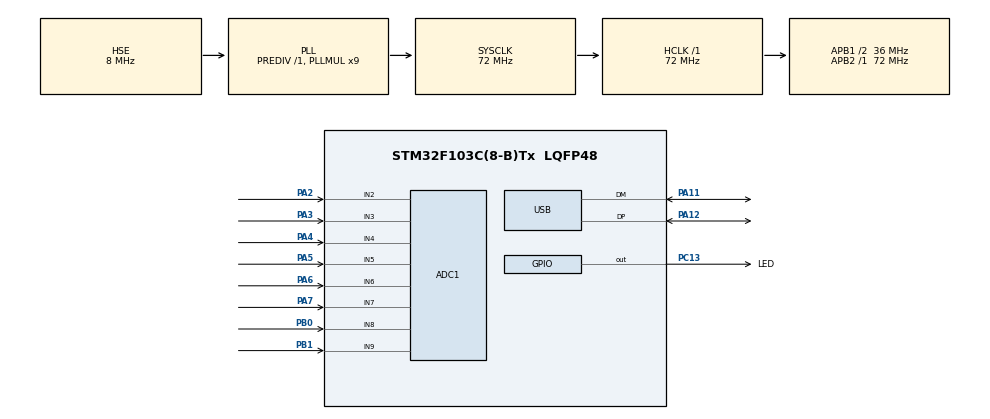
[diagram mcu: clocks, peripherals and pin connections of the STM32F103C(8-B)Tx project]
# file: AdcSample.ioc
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ADC1.Channel-10\#ChannelRegularConversion=ADC_CHANNEL_4
ADC1.Channel-11\#ChannelRegularConversion=ADC_CHANNEL_5
ADC1.Channel-12\#ChannelRegularConversion=ADC_CHANNEL_6
ADC1.Channel-13\#ChannelRegularConversion=ADC_CHANNEL_7
ADC1.Channel-14\#ChannelRegularConversion=ADC_CHANNEL_8
ADC1.Channel-15\#ChannelRegularConversion=ADC_CHANNEL_9
ADC1.Channel-8\#ChannelRegularConversion=ADC_CHANNEL_2
ADC1.Channel-9\#ChannelRegularConversion=ADC_CHANNEL_3
ADC1.ContinuousConvMode=DISABLE
ADC1.EnableInjectedConversion=DISABLE
ADC1.EnableRegularConversion=ENABLE
ADC1.ExternalTrigConv=ADC_EXTERNALTRIGCONV_T3_TRGO
ADC1.NbrOfConversion=8
ADC1.NbrOfConversionFlag=1
ADC1.Rank-10\#ChannelRegularConversion=3
ADC1.Rank-11\#ChannelRegularConversion=4
ADC1.Rank-12\#ChannelRegularConversion=5
ADC1.Rank-13\#ChannelRegularConversion=6
ADC1.Rank-14\#ChannelRegularConversion=7
ADC1.Rank-15\#ChannelRegularConversion=8
ADC1.Rank-8\#ChannelRegularConversion=1
ADC1.Rank-9\#ChannelRegularConversion=2
ADC1.SamplingTime-10\#ChannelRegularConversion=ADC_SAMPLETIME_239CYCLES_5
ADC1.SamplingTime-11\#ChannelRegularConversion=ADC_SAMPLETIME_239CYCLES_5
ADC1.SamplingTime-12\#ChannelRegularConversion=ADC_SAMPLETIME_239CYCLES_5
ADC1.SamplingTime-13\#ChannelRegularConversion=ADC_SAMPLETIME_239CYCLES_5
ADC1.SamplingTime-14\#ChannelRegularConversion=ADC_SAMPLETIME_239CYCLES_5
ADC1.SamplingTime-15\#ChannelRegularConversion=ADC_SAMPLETIME_239CYCLES_5
ADC1.SamplingTime-8\#ChannelRegularConversion=ADC_SAMPLETIME_239CYCLES_5
ADC1.SamplingTime-9\#ChannelRegularConversion=ADC_SAMPLETIME_239CYCLES_5
ADC1.master=1
Dma.ADC1.0.Direction=DMA_PERIPH_TO_MEMORY
Dma.ADC1.0.Instance=DMA1_Channel1
Dma.ADC1.0.MemDataAlignment=DMA_MDATAALIGN_WORD
Dma.ADC1.0.MemInc=DMA_MINC_ENABLE
Dma.ADC1.0.Mode=DMA_CIRCULAR
Dma.ADC1.0.PeriphDataAlignment=DMA_PDATAALIGN_WORD
Dma.ADC1.0.PeriphInc=DMA_PINC_DISABLE
Dma.ADC1.0.Priority=DMA_PRIORITY_LOW
Dma.Request0=ADC1
Mcu.Family=STM32F1
Mcu.Name=STM32F103C(8-B)Tx
Mcu.Package=LQFP48
NVIC.ADC1_2_IRQn=true\:0\:0\:false\:false\:true\:true\:true
NVIC.DMA1_Channel1_IRQn=true\:0\:0\:false\:false\:true\:false\:true
NVIC.PriorityGroup=NVIC_PRIORITYGROUP_2
NVIC.TIM2_IRQn=true\:0\:0\:false\:false\:true\:true\:true
NVIC.USB_LP_CAN1_RX0_IRQn=true\:0\:0\:false\:false\:true\:false\:true
PA11.Mode=Device
PA11.Signal=USB_DM
PA12.Mode=Device
PA12.Signal=USB_DP
PA13.Mode=Serial_Wire
PA13.Signal=SYS_JTMS-SWDIO
PA14.Mode=Serial_Wire
PA14.Signal=SYS_JTCK-SWCLK
PA2.Signal=ADCx_IN2
PA3.Signal=ADCx_IN3
PA4.Signal=ADCx_IN4
PA5.Signal=ADCx_IN5
PA6.Signal=ADCx_IN6
PA7.Signal=ADCx_IN7
PB0.Signal=ADCx_IN8
PB1.Signal=ADCx_IN9
PC13-TAMPER-RTC.GPIO_Label=LED
PC13-TAMPER-RTC.PinState=GPIO_PIN_SET
PC13-TAMPER-RTC.Signal=GPIO_Output
PC14-OSC32_IN.Mode=LSE-External-Oscillator
PC14-OSC32_IN.Signal=RCC_OSC32_IN
PC15-OSC32_OUT.Mode=LSE-External-Oscillator
PC15-OSC32_OUT.Signal=RCC_OSC32_OUT
PD0-OSC_IN.Mode=HSE-External-Oscillator
PD0-OSC_IN.Signal=RCC_OSC_IN
PD1-OSC_OUT.Mode=HSE-External-Oscillator
PD1-OSC_OUT.Signal=RCC_OSC_OUT
ProjectManager.HeapSize=0x800
ProjectManager.StackSize=0x1000
ProjectManager.TargetToolchain=MDK-ARM V5.27
RCC.ADCPresc=RCC_ADCPCLK2_DIV6
RCC.AHBFreq_Value=72000000
RCC.APB1CLKDivider=RCC_HCLK_DIV2
RCC.APB1Freq_Value=36000000
RCC.APB1TimFreq_Value=72000000
RCC.APB2Freq_Value=72000000
RCC.APB2TimFreq_Value=72000000
RCC.HCLKFreq_Value=72000000
RCC.PLLMUL=RCC_PLL_MUL9
RCC.PLLSourceVirtual=RCC_PLLSOURCE_HSE
RCC.SYSCLKFreq_VALUE=72000000
RCC.SYSCLKSource=RCC_SYSCLKSOURCE_PLLCLK
RCC.USBFreq_Value=48000000
RCC.USBPrescaler=RCC_USBCLKSOURCE_PLL_DIV1_5
SH.ADCx_IN2.0=ADC1_IN2,IN2
SH.ADCx_IN3.0=ADC1_IN3,IN3
SH.ADCx_IN4.0=ADC1_IN4,IN4
SH.ADCx_IN5.0=ADC1_IN5,IN5
SH.ADCx_IN6.0=ADC1_IN6,IN6
SH.ADCx_IN7.0=ADC1_IN7,IN7
SH.ADCx_IN8.0=ADC1_IN8,IN8
SH.ADCx_IN9.0=ADC1_IN9,IN9
TIM2.AutoReloadPreload=TIM_AUTORELOAD_PRELOAD_ENABLE
TIM2.Period=5000-1
TIM2.Prescaler=7200-1
TIM2.TIM_MasterOutputTrigger=TIM_TRGO_OC1
TIM3.AutoReloadPreload=TIM_AUTORELOAD_PRELOAD_ENABLE
TIM3.Period=2000-1
TIM3.Prescaler=72-1
TIM3.TIM_MasterOutputTrigger=TIM_TRGO_UPDATE
USB_DEVICE.CLASS_NAME_FS=CDC
USB_DEVICE.VirtualMode=Cdc
USB_DEVICE.VirtualModeFS=Cdc_FS
VP_TIM2_VS_ClockSourceINT.Mode=Internal
VP_TIM3_VS_ClockSourceINT.Mode=Internal
VP_USB_DEVICE_VS_USB_DEVICE_CDC_FS.Mode=CDC_FS
board=custom

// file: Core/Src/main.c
/* USER CODE BEGIN Header */
/**
  ******************************************************************************
  * @file           : main.c
  * @brief          : Main program body
  ******************************************************************************
  * @attention
  *
  * <h2><center>&copy; Copyright (c) 2021 STMicroelectronics.
  * All rights reserved.</center></h2>
  *
  * This software component is licensed by ST under Ultimate Liberty license
  * SLA0044, the "License"; You may not use this file except in compliance with
  * the License. You may obtain a copy of the License at:
  *                             www.st.com/SLA0044
  *
  ******************************************************************************
  */
/* USER CODE END Header */
#include "main.h"
#include "usb_device.h"

/* USER CODE BEGIN Includes */
#include "usbd_cdc_if.h"
/* USER CODE END Includes */

ADC_HandleTypeDef hadc1;
DMA_HandleTypeDef hdma_adc1;

TIM_HandleTypeDef htim2;
TIM_HandleTypeDef htim3;

void SystemClock_Config(void);
static void MX_GPIO_Init(void);
static void MX_DMA_Init(void);
static void MX_ADC1_Init(void);
static void MX_TIM2_Init(void);
static void MX_TIM3_Init(void);

/* USER CODE BEGIN 0 */
uint8_t UserTxBuffer[] = "STM32 Virtual COM Port Driver \r\n大家好，我是单片机爱好者MCU起航\r\n";
uint32_t ADC_DMABuff[8];
uint32_t ADC_UARTBuff[6];

uint8_t flag;
/* USER CODE END 0 */

int main(void)
{
  /* USER CODE BEGIN 1 */
	int i;
	uint16_t Sine12bit[32] = {2048, 2460, 2856, 3218, 3532, 3786, 3969, 4072, 4093, 4031, 3887, 3668, 3382, 3042, 2661, 2255, 1841, 1435, 1054, 714, 428, 209, 65, 3, 24, 127, 310, 564, 878, 1240, 1636, 2048};

  /* USER CODE END 1 */

  /* MCU Configuration--------------------------------------------------------*/

  /* Reset of all peripherals, Initializes the Flash interface and the Systick. */
  HAL_Init();

  /* Configure the system clock */
  SystemClock_Config();

  /* Initialize all configured peripherals */
  MX_GPIO_Init();
  MX_DMA_Init();
  MX_USB_DEVICE_Init();
  MX_ADC1_Init();
  MX_TIM2_Init();
  MX_TIM3_Init();
  /* USER CODE BEGIN 2 */
	HAL_ADC_Start_DMA(&hadc1,(uint32_t*)ADC_DMABuff,8);
	HAL_TIM_Base_Start_IT(&htim2);
	HAL_TIM_Base_Start_IT(&htim3);

  /* USER CODE END 2 */

  /* Infinite loop */
  /* USER CODE BEGIN WHILE */
  while (1)
  {
		/**ADC时钟:12MHz
		Tconv =  239.5+ 12.5 = 252 =21us  < 4kHz 所以最大采样率不大于4KHz
		ch0:V2N
		ch1:V2P
		ch2:V1N
		ch3:V1P
		ch4:I4
		ch5:I3
		ch6:I2
		ch7:I1
		**/

		if(flag){
			flag = 0;

			ADC_UARTBuff[0] = ADC_DMABuff[1] - ADC_DMABuff[0];
			ADC_UARTBuff[1] = ADC_DMABuff[3] - ADC_DMABuff[2];
			ADC_UARTBuff[2] = ADC_DMABuff[4];
			ADC_UARTBuff[3] = ADC_DMABuff[5];
			ADC_UARTBuff[4] = ADC_DMABuff[6];
			ADC_UARTBuff[5] = ADC_DMABuff[7];
#if 0
			for(i = 0;i < 6;i++){
				usb_printf("ch%d-%d\r\n",i,ADC_UARTBuff[i]);
				usb_printf("ch%d-%d\r\n",i,Sine12bit[i]);

			}

#endif
#if 1
		for(i = 0;i < 32;i++){
			usb_printf("%d\r\n",Sine12bit[i]);
			if(i == 31 )i = 0;

		}
#endif

		}

    /* USER CODE END WHILE */

  }
}

void SystemClock_Config(void)
{
  RCC_OscInitTypeDef RCC_OscInitStruct = {0};
  RCC_ClkInitTypeDef RCC_ClkInitStruct = {0};
  RCC_PeriphCLKInitTypeDef PeriphClkInit = {0};

  /** Initializes the RCC Oscillators according to the specified parameters
  * in the RCC_OscInitTypeDef structure.
  */
  RCC_OscInitStruct.OscillatorType = RCC_OSCILLATORTYPE_HSE;
  RCC_OscInitStruct.HSEState = RCC_HSE_ON;
  RCC_OscInitStruct.HSEPredivValue = RCC_HSE_PREDIV_DIV1;
  RCC_OscInitStruct.HSIState = RCC_HSI_ON;
  RCC_OscInitStruct.PLL.PLLState = RCC_PLL_ON;
  RCC_OscInitStruct.PLL.PLLSource = RCC_PLLSOURCE_HSE;
  RCC_OscInitStruct.PLL.PLLMUL = RCC_PLL_MUL9;
  if (HAL_RCC_OscConfig(&RCC_OscInitStruct) != HAL_OK)
  {
    Error_Handler();
  }
  /** Initializes the CPU, AHB and APB buses clocks
  */
  RCC_ClkInitStruct.ClockType = RCC_CLOCKTYPE_HCLK|RCC_CLOCKTYPE_SYSCLK
                              |RCC_CLOCKTYPE_PCLK1|RCC_CLOCKTYPE_PCLK2;
  RCC_ClkInitStruct.SYSCLKSource = RCC_SYSCLKSOURCE_PLLCLK;
  RCC_ClkInitStruct.AHBCLKDivider = RCC_SYSCLK_DIV1;
  RCC_ClkInitStruct.APB1CLKDivider = RCC_HCLK_DIV2;
  RCC_ClkInitStruct.APB2CLKDivider = RCC_HCLK_DIV1;

  if (HAL_RCC_ClockConfig(&RCC_ClkInitStruct, FLASH_LATENCY_2) != HAL_OK)
  {
    Error_Handler();
  }
  PeriphClkInit.PeriphClockSelection = RCC_PERIPHCLK_ADC|RCC_PERIPHCLK_USB;
  PeriphClkInit.AdcClockSelection = RCC_ADCPCLK2_DIV6;
  PeriphClkInit.UsbClockSelection = RCC_USBCLKSOURCE_PLL_DIV1_5;
  if (HAL_RCCEx_PeriphCLKConfig(&PeriphClkInit) != HAL_OK)
  {
    Error_Handler();
  }
}

static void MX_ADC1_Init(void)
{

  ADC_ChannelConfTypeDef sConfig = {0};

  /** Common config
  */
  hadc1.Instance = ADC1;
  hadc1.Init.ScanConvMode = ADC_SCAN_ENABLE;
  hadc1.Init.ContinuousConvMode = DISABLE;
  hadc1.Init.DiscontinuousConvMode = DISABLE;
  hadc1.Init.ExternalTrigConv = ADC_EXTERNALTRIGCONV_T3_TRGO;
  hadc1.Init.DataAlign = ADC_DATAALIGN_RIGHT;
  hadc1.Init.NbrOfConversion = 8;
  if (HAL_ADC_Init(&hadc1) != HAL_OK)
  {
    Error_Handler();
  }
  /** Configure Regular Channel
  */
  sConfig.Channel = ADC_CHANNEL_2;
  sConfig.Rank = ADC_REGULAR_RANK_1;
  sConfig.SamplingTime = ADC_SAMPLETIME_239CYCLES_5;
  if (HAL_ADC_ConfigChannel(&hadc1, &sConfig) != HAL_OK)
  {
    Error_Handler();
  }
  /** Configure Regular Channel
  */
  sConfig.Channel = ADC_CHANNEL_3;
  sConfig.Rank = ADC_REGULAR_RANK_2;
  if (HAL_ADC_ConfigChannel(&hadc1, &sConfig) != HAL_OK)
  {
    Error_Handler();
  }
  /** Configure Regular Channel
  */
  sConfig.Channel = ADC_CHANNEL_4;
  sConfig.Rank = ADC_REGULAR_RANK_3;
  if (HAL_ADC_ConfigChannel(&hadc1, &sConfig) != HAL_OK)
  {
    Error_Handler();
  }
  /** Configure Regular Channel
  */
  sConfig.Channel = ADC_CHANNEL_5;
  sConfig.Rank = ADC_REGULAR_RANK_4;
  if (HAL_ADC_ConfigChannel(&hadc1, &sConfig) != HAL_OK)
  {
    Error_Handler();
  }
  /** Configure Regular Channel
  */
  sConfig.Channel = ADC_CHANNEL_6;
  sConfig.Rank = ADC_REGULAR_RANK_5;
  if (HAL_ADC_ConfigChannel(&hadc1, &sConfig) != HAL_OK)
  {
    Error_Handler();
  }
  /** Configure Regular Channel
  */
  sConfig.Channel = ADC_CHANNEL_7;
  sConfig.Rank = ADC_REGULAR_RANK_6;
  if (HAL_ADC_ConfigChannel(&hadc1, &sConfig) != HAL_OK)
  {
    Error_Handler();
  }
  /** Configure Regular Channel
  */
  sConfig.Channel = ADC_CHANNEL_8;
  sConfig.Rank = ADC_REGULAR_RANK_7;
  if (HAL_ADC_ConfigChannel(&hadc1, &sConfig) != HAL_OK)
  {
    Error_Handler();
  }
  /** Configure Regular Channel
  */
  sConfig.Channel = ADC_CHANNEL_9;
  sConfig.Rank = ADC_REGULAR_RANK_8;
  if (HAL_ADC_ConfigChannel(&hadc1, &sConfig) != HAL_OK)
  {
    Error_Handler();
  }

}

static void MX_TIM2_Init(void)
{

  TIM_ClockConfigTypeDef sClockSourceConfig = {0};
  TIM_MasterConfigTypeDef sMasterConfig = {0};

  htim2.Instance = TIM2;
  htim2.Init.Prescaler = 7200-1;
  htim2.Init.CounterMode = TIM_COUNTERMODE_UP;
  htim2.Init.Period = 5000-1;
  htim2.Init.ClockDivision = TIM_CLOCKDIVISION_DIV1;
  htim2.Init.AutoReloadPreload = TIM_AUTORELOAD_PRELOAD_ENABLE;
  if (HAL_TIM_Base_Init(&htim2) != HAL_OK)
  {
    Error_Handler();
  }
  sClockSourceConfig.ClockSource = TIM_CLOCKSOURCE_INTERNAL;
  if (HAL_TIM_ConfigClockSource(&htim2, &sClockSourceConfig) != HAL_OK)
  {
    Error_Handler();
  }
  sMasterConfig.MasterOutputTrigger = TIM_TRGO_OC1;
  sMasterConfig.MasterSlaveMode = TIM_MASTERSLAVEMODE_DISABLE;
  if (HAL_TIMEx_MasterConfigSynchronization(&htim2, &sMasterConfig) != HAL_OK)
  {
    Error_Handler();
  }

}

static void MX_TIM3_Init(void)
{

  TIM_ClockConfigTypeDef sClockSourceConfig = {0};
  TIM_MasterConfigTypeDef sMasterConfig = {0};

  htim3.Instance = TIM3;
  htim3.Init.Prescaler = 72-1;
  htim3.Init.CounterMode = TIM_COUNTERMODE_UP;
  htim3.Init.Period = 2000-1;
  htim3.Init.ClockDivision = TIM_CLOCKDIVISION_DIV1;
  htim3.Init.AutoReloadPreload = TIM_AUTORELOAD_PRELOAD_ENABLE;
  if (HAL_TIM_Base_Init(&htim3) != HAL_OK)
  {
    Error_Handler();
  }
  sClockSourceConfig.ClockSource = TIM_CLOCKSOURCE_INTERNAL;
  if (HAL_TIM_ConfigClockSource(&htim3, &sClockSourceConfig) != HAL_OK)
  {
    Error_Handler();
  }
  sMasterConfig.MasterOutputTrigger = TIM_TRGO_UPDATE;
  sMasterConfig.MasterSlaveMode = TIM_MASTERSLAVEMODE_DISABLE;
  if (HAL_TIMEx_MasterConfigSynchronization(&htim3, &sMasterConfig) != HAL_OK)
  {
    Error_Handler();
  }

}

static void MX_DMA_Init(void)
{

  /* DMA controller clock enable */
  __HAL_RCC_DMA1_CLK_ENABLE();

  /* DMA interrupt init */
  /* DMA1_Channel1_IRQn interrupt configuration */
  HAL_NVIC_SetPriority(DMA1_Channel1_IRQn, 0, 0);
  HAL_NVIC_EnableIRQ(DMA1_Channel1_IRQn);

}

static void MX_GPIO_Init(void)
{
  GPIO_InitTypeDef GPIO_InitStruct = {0};

  /* GPIO Ports Clock Enable */
  __HAL_RCC_GPIOC_CLK_ENABLE();
  __HAL_RCC_GPIOD_CLK_ENABLE();
  __HAL_RCC_GPIOA_CLK_ENABLE();
  __HAL_RCC_GPIOB_CLK_ENABLE();

  /*Configure GPIO pin Output Level */
  HAL_GPIO_WritePin(LED_GPIO_Port, LED_Pin, GPIO_PIN_SET);

  /*Configure GPIO pin : LED_Pin */
  GPIO_InitStruct.Pin = LED_Pin;
  GPIO_InitStruct.Mode = GPIO_MODE_OUTPUT_PP;
  GPIO_InitStruct.Pull = GPIO_NOPULL;
  GPIO_InitStruct.Speed = GPIO_SPEED_FREQ_LOW;
  HAL_GPIO_Init(LED_GPIO_Port, &GPIO_InitStruct);

}

/* USER CODE BEGIN 4 */
void HAL_ADC_ConvCpltCallback(ADC_HandleTypeDef* hadc)
{
	flag = 1;
}
void HAL_TIM_PeriodElapsedCallback(TIM_HandleTypeDef *htim)
{
	if(htim->Instance == TIM2)
	{
		HAL_GPIO_TogglePin(LED_GPIO_Port,LED_Pin);
	}
}

/* USER CODE END 4 */

void Error_Handler(void)
{
  __disable_irq();
  while (1)
  {
  }
}

/************************ (C) COPYRIGHT STMicroelectronics *****END OF FILE****/
